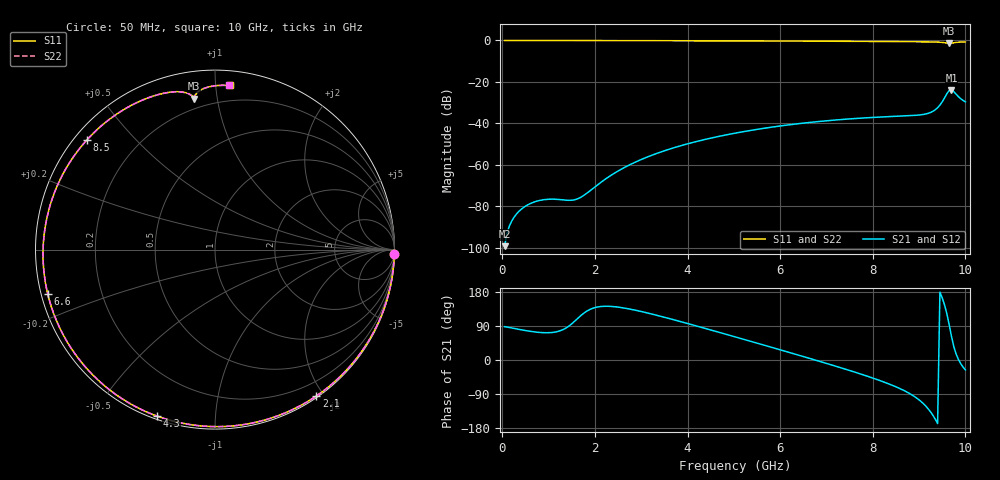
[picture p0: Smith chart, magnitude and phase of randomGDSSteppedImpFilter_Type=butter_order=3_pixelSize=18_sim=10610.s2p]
! freq	dB(S11)	phase(S11)	dB(S12)	phase(S12)
!  dB(S21)	phase(S21)	dB(S22)	phase(S22)
!S-par simulation data
#  GHz  S  DB  R 50
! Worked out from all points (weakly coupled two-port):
!   200 points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, 50 MHz to 10 GHz, reference 50 ohm
!   highest |S21| = -23.86 dB at 9.7 GHz (marker M1); lowest = -99.2 dB at 50 MHz (marker M2)
!   lowest |S11| = -1.4 dB at 9.65 GHz (marker M3), VSWR 12.25, Z = 7.15 + j43.1 ohm
!   |S11| at or under -10 dB: nowhere
!   |S22| runs from -1.4 to 0.0 dB; largest |S21 - S12| = 0
!   S11 on the Smith chart (normalised r, x): 50 MHz: 1, -84; 2.1 GHz: 0.02, -1.91; 4.3 GHz: 0.01, -0.71; 6.6 GHz: 0.02, -0.13; 8.5 GHz: 0.04, +0.37; 10 GHz: 0.09, +1.09
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0.05  -0.00 -1.4  -99.22 88.0  -99.22 88.0  -0.00 -1.4
0.5  -0.02 -13.4  -79.95 77.7  -79.95 77.7  -0.02 -13.4
0.7  -0.02 -18.8  -77.83 74.1  -77.83 74.1  -0.02 -18.8
0.95  -0.03 -25.4  -76.66 71.9  -76.66 71.9  -0.03 -25.4
1.5  -0.05 -39.8  -77.05 95.5  -77.05 95.5  -0.05 -39.8
1.75  -0.06 -46.3  -74.89 122.6  -74.89 122.6  -0.06 -46.3
2.1  -0.07 -55.2  -68.91 140.7  -68.91 140.7  -0.07 -55.2
2.7  -0.09 -70.3  -60.55 135.7  -60.55 135.7  -0.09 -70.3
3.4  -0.12 -87.5  -53.97 116.0  -53.97 116.0  -0.12 -87.5
4.3  -0.15 -109.1  -48.15 86.2  -48.15 86.2  -0.15 -109.0
5.05  -0.20 -126.9  -44.61 60.3  -44.61 60.3  -0.20 -126.9
5.85  -0.25 -146.2  -41.71 32.3  -41.71 32.3  -0.25 -146.1
6.6  -0.32 -165.0  -39.63 5.6  -39.63 5.6  -0.32 -165.0
6.7  -0.33 -167.6  -39.39 2.0  -39.39 2.0  -0.33 -167.5
7.55  -0.42 169.1  -37.76 -29.6  -37.76 -29.6  -0.42 169.2
8.35  -0.52 144.5  -36.74 -63.2  -36.74 -63.2  -0.52 144.6
8.5  -0.54 139.5  -36.59 -70.7  -36.59 -70.7  -0.54 139.7
9.25  -0.70 112.1  -34.71 -137.3  -34.71 -137.3  -0.70 112.3
9.45  -0.86 103.8  -31.18 179.1  -31.18 179.1  -0.86 103.9
9.65  -1.42 97.8  -24.16 93.1  -24.16 93.1  -1.42 98.0
9.7  -1.33 97.8  -23.86 61.9  -23.86 61.9  -1.33 98.0
10  -0.74 84.9  -29.61 -26.1  -29.61 -26.1  -0.74 85.0
